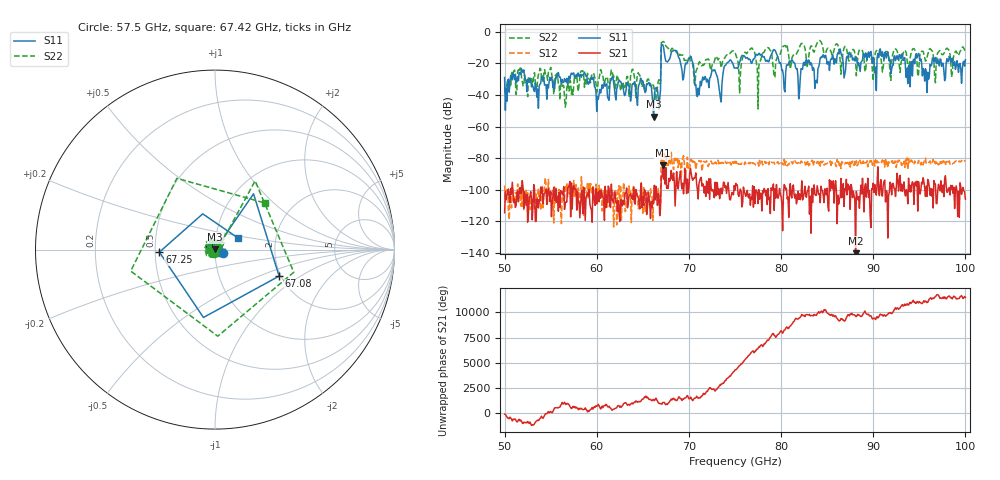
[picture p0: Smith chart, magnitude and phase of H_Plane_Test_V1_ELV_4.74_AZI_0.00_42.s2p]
! 11/27/2026 8:29:29 AM
! C:\ANRITSUVNA\TEMP\TEMP.S2P
! CHANNEL.1
! TR.MEASUREMENT
! RAW.DATA
# HZ S RI R 50.0
! FREQ.HZ  S11RE  S11IM  S21RE  S21IM  S12RE  S12IM  S22RE  S22IM
!; PortSelection: Port_12
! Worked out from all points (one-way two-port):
!   601 points, 50 GHz to 100 GHz, reference 50 ohm
!   highest |S21| = -84.45 dB at 67.17 GHz (marker M1); lowest = -140.0 dB at 88.08 GHz (marker M2)
!   lowest |S11| = -53.8 dB at 66.17 GHz (marker M3), VSWR 1.00, Z = 50.1 + j0.154 ohm
!   |S11| at or under -10 dB: start of sweep to 67 GHz; 67.24 GHz to end of sweep
!   |S22| runs from -48.9 to -5.6 dB; largest |S21 - S12| = 0.00016
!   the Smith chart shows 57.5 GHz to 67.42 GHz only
!   S11 on the Smith chart (normalised r, x): 57.5 GHz: 1.09, -0.05; 67.08 GHz: 1.96, -0.68; 67.25 GHz: 0.53, -0.02; 67.42 GHz: 1.29, +0.17
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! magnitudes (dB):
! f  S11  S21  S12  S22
! 50 GHz  -29.0  -114.4  -97.3  -35.4
! 57.5 GHz  -26.1  -97.3  -94.1  -34.5
! 58.42 GHz  -27.1  -100.4  -102.7  -24.8
! 60.17 GHz  -42.8  -101.3  -106.4  -30.1
! 66.17 GHz  -53.8  -108.4  -106.2  -34.0
! 66.67 GHz  -41.8  -102.4  -99.2  -31.6
! 67.08 GHz  -8.3  -91.6  -79.1  -6.8
! 67.17 GHz  -8.3  -84.5  -80.8  -6.3
! 67.25 GHz  -10.2  -93.2  -93.0  -6.3
! 67.42 GHz  -16.8  -96.4  -79.3  -8.4
! 70.25 GHz  -16.0  -89.4  -80.5  -18.7
! 70.92 GHz  -41.1  -99.7  -82.7  -23.1
! 75 GHz  -23.1  -100.3  -83.9  -13.0
! 77.58 GHz  -13.8  -99.9  -85.0  -21.7
! 78.5 GHz  -18.2  -109.4  -82.5  -10.8
! 79.33 GHz  -11.7  -99.4  -84.2  -28.7
! 80.25 GHz  -27.9  -103.9  -84.2  -9.4
! 83.42 GHz  -24.4  -108.0  -81.6  -10.8
! 88.08 GHz  -17.8  -140.0  -84.1  -17.4
! 91.67 GHz  -16.6  -103.7  -82.3  -15.3
! 95.83 GHz  -38.5  -104.1  -83.4  -16.4
! 100 GHz  -17.9  -105.9  -81.9  -12.5
